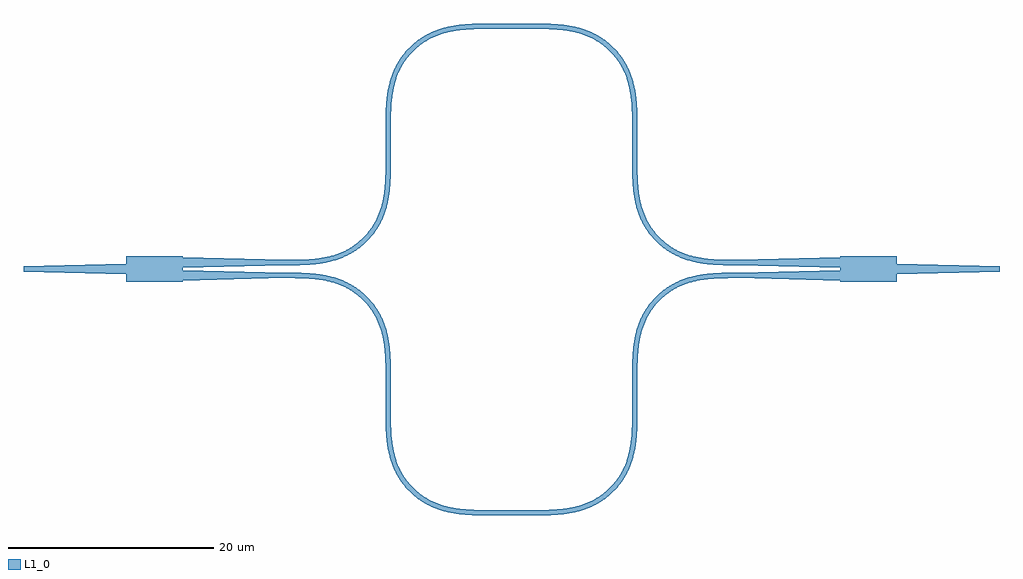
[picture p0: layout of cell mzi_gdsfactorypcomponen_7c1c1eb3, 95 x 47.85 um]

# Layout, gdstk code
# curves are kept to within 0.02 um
from math import pi, radians
import gdstk
lib = gdstk.Library(unit=1e-6, precision=1e-09)
def R(c, l, rs):  # rectangles x0, y0, x1, y1
    for r in rs: c.add(gdstk.rectangle(r[:2], r[2:], *l))
def P(c, l, *ps):  # polygons
    for p in ps: c.add(gdstk.Polygon(p, *l))
L1_0 = (1, 0)

mmi1x2_gdsfactorypcompo_ = lib.new_cell('mmi1x2_gdsfactorypcompo_1f097353')
P(mmi1x2_gdsfactorypcompo_, L1_0, [(0,-1.25),(0,-0.5),(-10,-0.25),(-10,0.25),(0,0.5),(0,1.25),(5.5,1.25),(5.5,1.125),(15.5,0.875),(15.5,0.375),(5.5,0.125),(5.5,-0.125),(15.5,-0.375),(15.5,-0.875),(5.5,-1.125),(5.5,-1.25)])

bend_euler_gdsfactorypc_ = lib.new_cell('bend_euler_gdsfactorypc_c35a91db')
P(bend_euler_gdsfactorypc_, L1_0, [(0,-0.25),(0,0.25),(1.655,0.269),(2.881,0.353),(3.952,0.52),(4.99,0.806),(5.731,1.113),(6.431,1.505),(7.079,1.976),(7.575,2.425),(8.024,2.921),(8.495,3.569),(8.887,4.269),(9.194,5.01),(9.48,6.048),(9.647,7.119),(9.731,8.345),(9.75,10),(10.25,10),(10.235,8.468),(10.158,7.205),(10.023,6.224),(9.797,5.254),(9.457,4.312),(9.066,3.545),(8.5,2.715),(7.928,2.072),(7.285,1.5),(6.455,0.934),(5.688,0.543),(4.746,0.203),(3.776,-0.023),(2.795,-0.158),(1.532,-0.235)])

straight_gdsfactorypcom_ = lib.new_cell('straight_gdsfactorypcom_b797802a')
R(straight_gdsfactorypcom_, L1_0, [(0,-0.25,3,0.25)])

c_straight_gdsfactorypcom_ = lib.new_cell('straight_gdsfactorypcom_2353d26b')
R(c_straight_gdsfactorypcom_, L1_0, [(0,-0.25,3.1,0.25)])

c_straight_gdsfactorypcom__ = lib.new_cell('straight_gdsfactorypcom_a6eac62c')
R(c_straight_gdsfactorypcom__, L1_0, [(0,-0.25,4,0.25)])

mzi_gdsfactorypcomponen_ = lib.new_cell('mzi_gdsfactorypcomponen_7c1c1eb3')
mzi_gdsfactorypcomponen_.add(gdstk.Reference(mmi1x2_gdsfactorypcompo_, (0,0)))
mzi_gdsfactorypcomponen_.add(gdstk.Reference(bend_euler_gdsfactorypc_, (15.5,-0.625), x_reflection=True))
mzi_gdsfactorypcomponen_.add(gdstk.Reference(bend_euler_gdsfactorypc_, (25.5,-13.725), rotation=3*pi/2))
mzi_gdsfactorypcomponen_.add(gdstk.Reference(bend_euler_gdsfactorypc_, (15.5,0.625)))
mzi_gdsfactorypcomponen_.add(gdstk.Reference(bend_euler_gdsfactorypc_, (35.5,23.625), rotation=pi))
mzi_gdsfactorypcomponen_.add(gdstk.Reference(bend_euler_gdsfactorypc_, (49.5,13.625), rotation=pi/2))
mzi_gdsfactorypcomponen_.add(gdstk.Reference(bend_euler_gdsfactorypc_, (49.5,10.625), rotation=3*pi/2))
mzi_gdsfactorypcomponen_.add(gdstk.Reference(bend_euler_gdsfactorypc_, (39.5,-23.725)))
mzi_gdsfactorypcomponen_.add(gdstk.Reference(bend_euler_gdsfactorypc_, (59.5,-0.625), rotation=pi))
mzi_gdsfactorypcomponen_.add(gdstk.Reference(straight_gdsfactorypcom_, (25.5,10.625), rotation=pi/2))
mzi_gdsfactorypcomponen_.add(gdstk.Reference(c_straight_gdsfactorypcom_, (25.5,-10.625), rotation=3*pi/2))
mzi_gdsfactorypcomponen_.add(gdstk.Reference(c_straight_gdsfactorypcom__, (35.5,23.625)))
mzi_gdsfactorypcomponen_.add(gdstk.Reference(c_straight_gdsfactorypcom__, (35.5,-23.725)))
mzi_gdsfactorypcomponen_.add(gdstk.Reference(mmi1x2_gdsfactorypcompo_, (75,0), rotation=pi, x_reflection=True))
mzi_gdsfactorypcomponen_.add(gdstk.Reference(straight_gdsfactorypcom_, (49.5,10.625), rotation=pi/2))
mzi_gdsfactorypcomponen_.add(gdstk.Reference(c_straight_gdsfactorypcom_, (49.5,-13.725), rotation=pi/2))

lib.write_gds('mzi_gdsfactorypcomponen_7c1c1eb3.gds')
